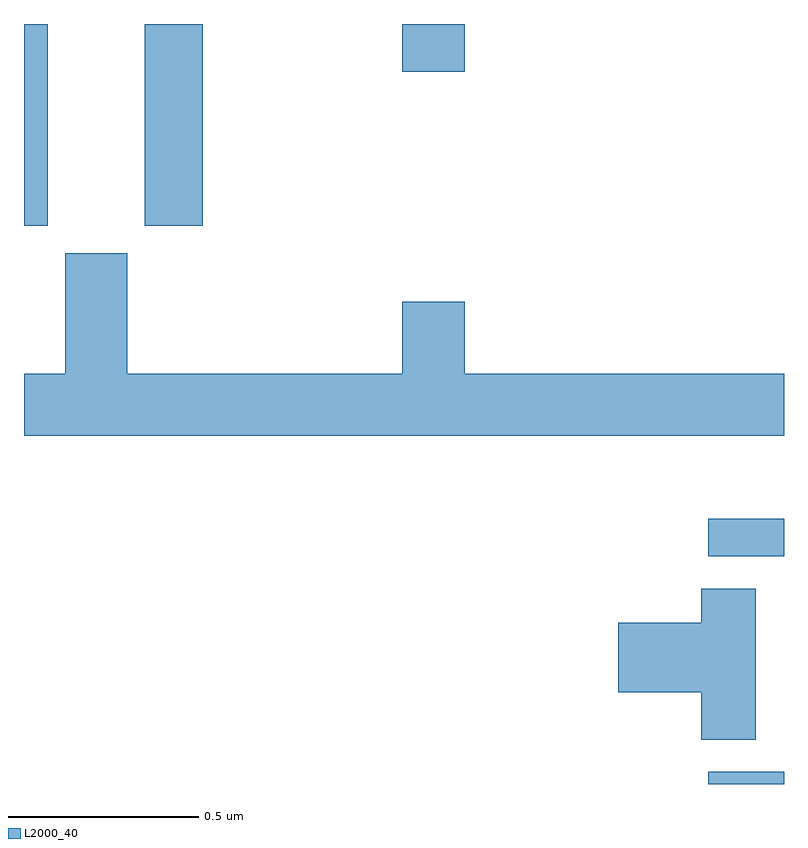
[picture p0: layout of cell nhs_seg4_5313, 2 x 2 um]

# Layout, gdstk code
import gdstk
lib = gdstk.Library(unit=1e-6, precision=1e-09)
def R(c, l, rs):  # rectangles x0, y0, x1, y1
    for r in rs: c.add(gdstk.rectangle(r[:2], r[2:], *l))
def P(c, l, *ps):  # polygons
    for p in ps: c.add(gdstk.Polygon(p, *l))
L2000_40 = (2000, 40)

nhs_seg4_5313 = lib.new_cell('nhs_seg4_5313')
R(nhs_seg4_5313, L2000_40, [(177.801,799.9,178,799.932), (177.801,800.499,178,800.598), (176,801.369,176.062,801.9), (176.318,801.369,176.471,801.9), (176.996,801.774,177.16,801.9)])
P(nhs_seg4_5313, L2000_40, [(178,800.98),(177.16,800.98),(177.16,801.169),(176.996,801.169),(176.996,800.98),(176.272,800.98),(176.272,801.297),(176.108,801.297),(176.108,800.98),(176,800.98),(176,800.816),(178,800.816)],
  [(177.925,800.414),(177.782,800.414),(177.782,800.324),(177.564,800.324),(177.564,800.141),(177.782,800.141),(177.782,800.017),(177.925,800.017)])

lib.write_gds('nhs_seg4_5313.gds')
